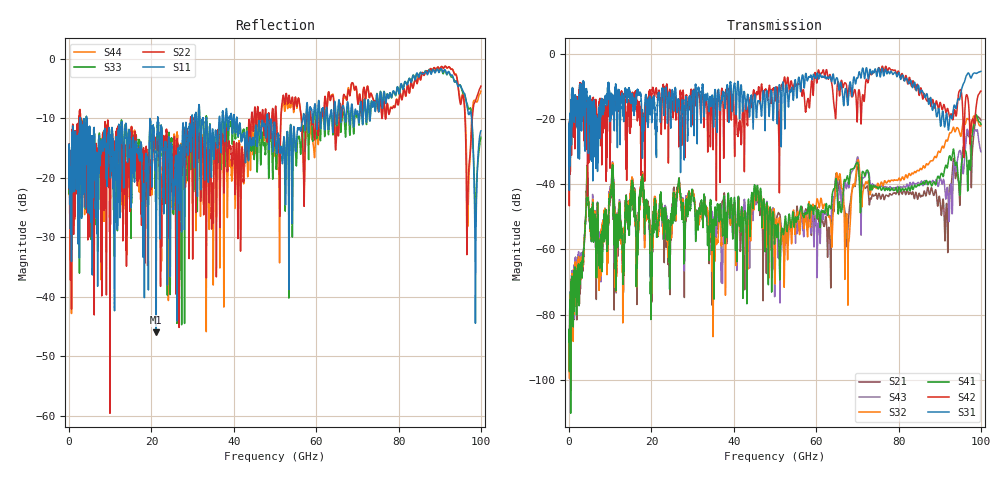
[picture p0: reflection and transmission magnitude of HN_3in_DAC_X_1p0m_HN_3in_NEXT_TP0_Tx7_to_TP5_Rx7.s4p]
# GHz S RI R 45
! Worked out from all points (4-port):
!   4000 points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, 25 MHz to 100 GHz, reference 45 ohm
!   strongest paths, dB at 25 MHz, 25.02 GHz, 50.02 GHz, 75.03 GHz, 100 GHz:
!     S31: -21.6, -11.6, -10.7, -4.8, -5.5
!     S42: -21.7, -14.4, -14.5, -5.1, -11.5
!     S41: -88.4, -48.6, -54.6, -41.5, -21.7
!     S32: -96.1, -49.7, -63.6, -39.8, -22.2
!     S43: -96.2, -50.2, -57.1, -40.6, -30.1
!     S21: -93.7, -48.5, -54.6, -43.8, -20.4
!   lowest |S11| = -45.9 dB at 21.18 GHz (marker M1), VSWR 1.01, Z = 45 - j0.455 ohm
!   |S11| at or under -10 dB: 4.326 GHz to 19.7 GHz (15.37 GHz wide, 128 % of centre); 21.65 GHz to 29.82 GHz (8.168 GHz wide, 31.7 % of centre); 48.29 GHz to 56.77 GHz (8.486 GHz wide, 16.2 % of centre) (the widest 3 of 41)
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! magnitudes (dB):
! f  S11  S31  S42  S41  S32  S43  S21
! 25 MHz  -15.1  -21.6  -21.7  -88.4  -96.1  -96.2  -93.7
! 4.475 GHz  -12.6  -15.6  -17.7  -38.1  -38.0  -37.7  -38.4
! 21.18 GHz  -45.9  -25.8  -10.8  -52.5  -49.5  -51.2  -50.1
! 67.42 GHz  -8.2  -13.1  -10.1  -38.1  -49.1  -41.0  -55.4
! 70.08 GHz  -8.8  -7.5  -17.0  -33.4  -32.8  -31.7  -34.7
! 91.58 GHz  -2.3  -18.6  -18.2  -34.2  -26.5  -44.1  -46.7
! 100 GHz  -12.1  -5.5  -11.5  -21.7  -22.2  -30.1  -20.4
